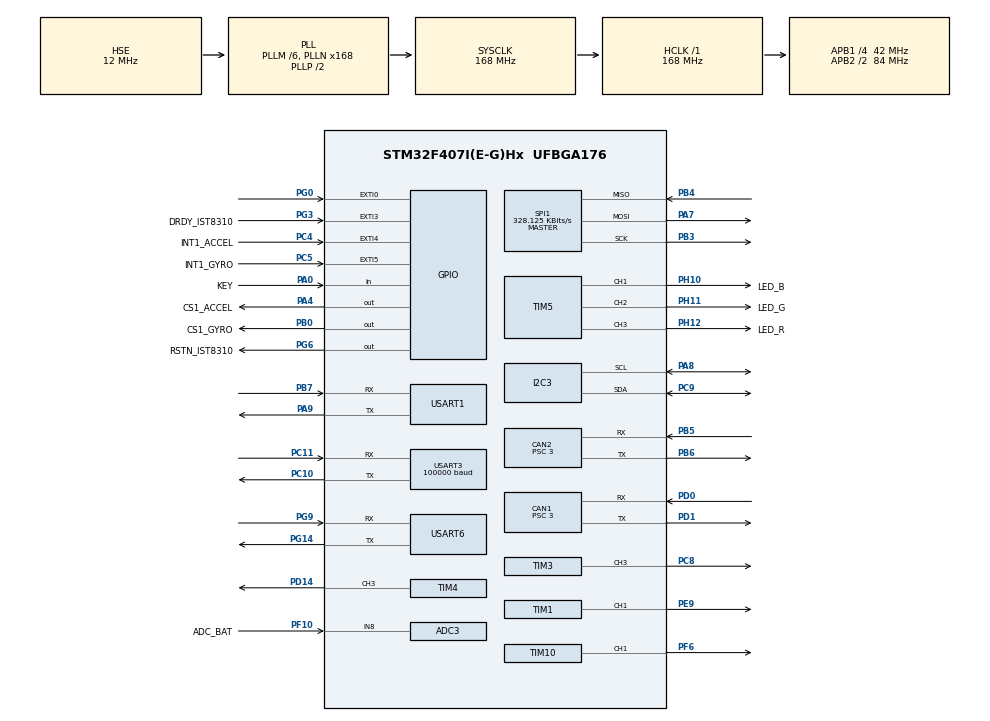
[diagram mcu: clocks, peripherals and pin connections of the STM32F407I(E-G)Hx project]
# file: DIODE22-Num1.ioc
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ADC1.Channel-0\#ChannelRegularConversion=ADC_CHANNEL_TEMPSENSOR
ADC1.ClockPrescaler=ADC_CLOCK_SYNC_PCLK_DIV6
ADC1.NbrOfConversionFlag=1
ADC1.Rank-0\#ChannelRegularConversion=1
ADC1.SamplingTime-0\#ChannelRegularConversion=ADC_SAMPLETIME_3CYCLES
ADC1.master=1
ADC3.Channel-0\#ChannelRegularConversion=ADC_CHANNEL_8
ADC3.ClockPrescaler=ADC_CLOCK_SYNC_PCLK_DIV6
ADC3.NbrOfConversionFlag=1
ADC3.Rank-0\#ChannelRegularConversion=1
ADC3.SamplingTime-0\#ChannelRegularConversion=ADC_SAMPLETIME_3CYCLES
CAN1.ABOM=ENABLE
CAN1.BS1=CAN_BS1_10TQ
CAN1.BS2=CAN_BS2_3TQ
CAN1.CalculateBaudRate=1000000
CAN1.CalculateTimeBit=999.99
CAN1.CalculateTimeQuantum=71.42857142857143
CAN1.Prescaler=3
CAN2.BS1=CAN_BS1_10TQ
CAN2.BS2=CAN_BS2_3TQ
CAN2.CalculateBaudRate=1000000
CAN2.CalculateTimeBit=999.99
CAN2.CalculateTimeQuantum=71.42857142857143
CAN2.Prescaler=3
Dma.Request0=SPI1_RX
Dma.Request1=SPI1_TX
Dma.Request2=USART1_RX
Dma.Request3=USART1_TX
Dma.Request4=USART6_RX
Dma.Request5=USART6_TX
Dma.Request6=USART3_RX
Dma.SPI1_RX.0.Direction=DMA_PERIPH_TO_MEMORY
Dma.SPI1_RX.0.FIFOMode=DMA_FIFOMODE_DISABLE
Dma.SPI1_RX.0.Instance=DMA2_Stream2
Dma.SPI1_RX.0.MemDataAlignment=DMA_MDATAALIGN_BYTE
Dma.SPI1_RX.0.MemInc=DMA_MINC_ENABLE
Dma.SPI1_RX.0.Mode=DMA_NORMAL
Dma.SPI1_RX.0.PeriphDataAlignment=DMA_PDATAALIGN_BYTE
Dma.SPI1_RX.0.PeriphInc=DMA_PINC_DISABLE
Dma.SPI1_RX.0.Priority=DMA_PRIORITY_VERY_HIGH
Dma.SPI1_TX.1.Direction=DMA_MEMORY_TO_PERIPH
Dma.SPI1_TX.1.FIFOMode=DMA_FIFOMODE_DISABLE
Dma.SPI1_TX.1.Instance=DMA2_Stream3
Dma.SPI1_TX.1.MemDataAlignment=DMA_MDATAALIGN_BYTE
Dma.SPI1_TX.1.MemInc=DMA_MINC_ENABLE
Dma.SPI1_TX.1.Mode=DMA_NORMAL
Dma.SPI1_TX.1.PeriphDataAlignment=DMA_PDATAALIGN_BYTE
Dma.SPI1_TX.1.PeriphInc=DMA_PINC_DISABLE
Dma.SPI1_TX.1.Priority=DMA_PRIORITY_HIGH
Dma.USART1_RX.2.Direction=DMA_PERIPH_TO_MEMORY
Dma.USART1_RX.2.FIFOMode=DMA_FIFOMODE_DISABLE
Dma.USART1_RX.2.Instance=DMA2_Stream5
Dma.USART1_RX.2.MemDataAlignment=DMA_MDATAALIGN_BYTE
Dma.USART1_RX.2.MemInc=DMA_MINC_ENABLE
Dma.USART1_RX.2.Mode=DMA_NORMAL
Dma.USART1_RX.2.PeriphDataAlignment=DMA_PDATAALIGN_BYTE
Dma.USART1_RX.2.PeriphInc=DMA_PINC_DISABLE
Dma.USART1_RX.2.Priority=DMA_PRIORITY_HIGH
Dma.USART1_TX.3.Direction=DMA_MEMORY_TO_PERIPH
Dma.USART1_TX.3.FIFOMode=DMA_FIFOMODE_DISABLE
Dma.USART1_TX.3.Instance=DMA2_Stream7
Dma.USART1_TX.3.MemDataAlignment=DMA_MDATAALIGN_BYTE
Dma.USART1_TX.3.MemInc=DMA_MINC_ENABLE
Dma.USART1_TX.3.Mode=DMA_NORMAL
Dma.USART1_TX.3.PeriphDataAlignment=DMA_PDATAALIGN_BYTE
Dma.USART1_TX.3.PeriphInc=DMA_PINC_DISABLE
Dma.USART1_TX.3.Priority=DMA_PRIORITY_HIGH
Dma.USART3_RX.6.Direction=DMA_PERIPH_TO_MEMORY
Dma.USART3_RX.6.FIFOMode=DMA_FIFOMODE_DISABLE
Dma.USART3_RX.6.Instance=DMA1_Stream1
Dma.USART3_RX.6.MemDataAlignment=DMA_MDATAALIGN_BYTE
Dma.USART3_RX.6.MemInc=DMA_MINC_ENABLE
Dma.USART3_RX.6.Mode=DMA_CIRCULAR
Dma.USART3_RX.6.PeriphDataAlignment=DMA_PDATAALIGN_BYTE
Dma.USART3_RX.6.PeriphInc=DMA_PINC_DISABLE
Dma.USART3_RX.6.Priority=DMA_PRIORITY_LOW
Dma.USART6_RX.4.Direction=DMA_PERIPH_TO_MEMORY
Dma.USART6_RX.4.FIFOMode=DMA_FIFOMODE_DISABLE
Dma.USART6_RX.4.Instance=DMA2_Stream1
Dma.USART6_RX.4.MemDataAlignment=DMA_MDATAALIGN_BYTE
Dma.USART6_RX.4.MemInc=DMA_MINC_ENABLE
Dma.USART6_RX.4.Mode=DMA_CIRCULAR
Dma.USART6_RX.4.PeriphDataAlignment=DMA_PDATAALIGN_BYTE
Dma.USART6_RX.4.PeriphInc=DMA_PINC_DISABLE
Dma.USART6_RX.4.Priority=DMA_PRIORITY_HIGH
Dma.USART6_TX.5.Direction=DMA_MEMORY_TO_PERIPH
Dma.USART6_TX.5.FIFOMode=DMA_FIFOMODE_DISABLE
Dma.USART6_TX.5.Instance=DMA2_Stream6
Dma.USART6_TX.5.MemDataAlignment=DMA_MDATAALIGN_BYTE
Dma.USART6_TX.5.MemInc=DMA_MINC_ENABLE
Dma.USART6_TX.5.Mode=DMA_NORMAL
Dma.USART6_TX.5.PeriphDataAlignment=DMA_PDATAALIGN_BYTE
Dma.USART6_TX.5.PeriphInc=DMA_PINC_DISABLE
Dma.USART6_TX.5.Priority=DMA_PRIORITY_MEDIUM
FREERTOS.INCLUDE_eTaskGetState=1
FREERTOS.INCLUDE_pcTaskGetTaskName=1
FREERTOS.INCLUDE_uxTaskGetStackHighWaterMark=1
FREERTOS.INCLUDE_vTaskCleanUpResources=1
FREERTOS.INCLUDE_vTaskDelayUntil=1
FREERTOS.INCLUDE_xEventGroupSetBitFromISR=1
FREERTOS.INCLUDE_xQueueGetMutexHolder=1
FREERTOS.INCLUDE_xSemaphoreGetMutexHolder=1
FREERTOS.INCLUDE_xTaskAbortDelay=1
FREERTOS.INCLUDE_xTaskGetCurrentTaskHandle=1
FREERTOS.INCLUDE_xTaskGetHandle=1
FREERTOS.INCLUDE_xTimerPendFunctionCall=1
FREERTOS.Tasks01=defaultTask,0,128,StartDefaultTask,Default,NULL,Dynamic,NULL,NULL
FREERTOS.configMAX_PRIORITIES=15
FREERTOS.configTOTAL_HEAP_SIZE=24576
FREERTOS.configUSE_TIMERS=1
I2C3.I2C_Mode=I2C_Fast
Mcu.Family=STM32F4
Mcu.Name=STM32F407I(E-G)Hx
Mcu.Package=UFBGA176
NVIC.CAN1_RX0_IRQn=true\:5\:0\:false\:false\:true\:true\:true\:true
NVIC.CAN1_TX_IRQn=true\:5\:0\:false\:false\:true\:true\:true\:true
NVIC.CAN2_RX0_IRQn=true\:5\:0\:false\:false\:true\:true\:true\:true
NVIC.DMA1_Stream1_IRQn=true\:5\:0\:false\:false\:true\:true\:false\:true
NVIC.DMA2_Stream1_IRQn=true\:5\:0\:false\:false\:true\:true\:false\:true
NVIC.DMA2_Stream2_IRQn=true\:5\:0\:false\:false\:false\:true\:false\:true
NVIC.DMA2_Stream3_IRQn=true\:5\:0\:false\:false\:false\:true\:false\:true
NVIC.DMA2_Stream5_IRQn=true\:5\:0\:false\:false\:true\:true\:false\:true
NVIC.DMA2_Stream6_IRQn=true\:5\:0\:false\:false\:true\:true\:false\:true
NVIC.DMA2_Stream7_IRQn=true\:5\:0\:false\:false\:true\:true\:false\:true
NVIC.EXTI0_IRQn=true\:5\:0\:false\:false\:true\:true\:true\:true
NVIC.EXTI3_IRQn=true\:5\:0\:false\:false\:true\:true\:true\:true
NVIC.EXTI4_IRQn=true\:5\:0\:false\:false\:true\:true\:true\:true
NVIC.EXTI9_5_IRQn=true\:5\:0\:false\:false\:true\:true\:true\:true
NVIC.PriorityGroup=NVIC_PRIORITYGROUP_4
NVIC.USART1_IRQn=true\:5\:0\:false\:false\:true\:true\:true\:true
NVIC.USART3_IRQn=true\:5\:0\:false\:false\:true\:true\:true\:true
NVIC.USART6_IRQn=true\:5\:0\:false\:false\:true\:true\:true\:true
PA0-WKUP.GPIO_Label=KEY
PA0-WKUP.GPIO_PuPd=GPIO_PULLUP
PA0-WKUP.Signal=GPIO_Input
PA13.Mode=Serial_Wire
PA13.Signal=SYS_JTMS-SWDIO
PA14.Mode=Serial_Wire
PA14.Signal=SYS_JTCK-SWCLK
PA4.GPIO_Label=CS1_ACCEL
PA4.GPIO_ModeDefaultOutputPP=GPIO_MODE_OUTPUT_PP
PA4.GPIO_PuPd=GPIO_PULLUP
PA4.GPIO_Speed=GPIO_SPEED_FREQ_HIGH
PA4.PinState=GPIO_PIN_SET
PA4.Signal=GPIO_Output
PA7.GPIO_PuPd=GPIO_PULLUP
PA7.Mode=Full_Duplex_Master
PA7.Signal=SPI1_MOSI
PA8.GPIO_Pu=GPIO_PULLUP
PA8.Mode=I2C
PA8.Signal=I2C3_SCL
PA9.Mode=Asynchronous
PA9.Signal=USART1_TX
PB0.GPIO_Label=CS1_GYRO
PB0.GPIO_PuPd=GPIO_PULLUP
PB0.GPIO_Speed=GPIO_SPEED_FREQ_HIGH
PB0.PinState=GPIO_PIN_SET
PB0.Signal=GPIO_Output
PB3.GPIO_PuPd=GPIO_PULLUP
PB3.Mode=Full_Duplex_Master
PB3.Signal=SPI1_SCK
PB4.GPIO_PuPd=GPIO_PULLUP
PB4.Mode=Full_Duplex_Master
PB4.Signal=SPI1_MISO
PB5.Mode=CAN_Activate
PB5.Signal=CAN2_RX
PB6.Mode=CAN_Activate
PB6.Signal=CAN2_TX
PB7.Mode=Asynchronous
PB7.Signal=USART1_RX
PC10.Mode=Asynchronous
PC10.Signal=USART3_TX
PC11.Mode=Asynchronous
PC11.Signal=USART3_RX
PC4.GPIO_Label=INT1_ACCEL
PC4.GPIO_PuPd=GPIO_PULLUP
PC4.Signal=GPXTI4
PC5.GPIO_Label=INT1_GYRO
PC5.Signal=GPXTI5
PC8.Signal=S_TIM3_CH3
PC9.GPIO_Pu=GPIO_PULLUP
PC9.Mode=I2C
PC9.Signal=I2C3_SDA
PD0.Mode=CAN_Activate
PD0.Signal=CAN1_RX
PD1.Mode=CAN_Activate
PD1.Signal=CAN1_TX
PD14.GPIO_Speed=GPIO_SPEED_FREQ_VERY_HIGH
PD14.Signal=S_TIM4_CH3
PE9.Signal=S_TIM1_CH1
PF10.GPIO_Label=ADC_BAT
PF10.Mode=IN8
PF10.Signal=ADC3_IN8
PF6.GPIO_PuPd=GPIO_PULLUP
PF6.GPIO_Speed=GPIO_SPEED_FREQ_HIGH
PF6.Signal=S_TIM10_CH1
PG0.GPIO_PuPd=GPIO_PULLUP
PG0.Signal=GPXTI0
PG14.Mode=Asynchronous
PG14.Signal=USART6_TX
PG3.GPIO_Label=DRDY_IST8310
PG3.GPIO_PuPd=GPIO_PULLUP
PG3.Signal=GPXTI3
PG6.GPIO_Label=RSTN_IST8310
PG6.GPIO_PuPd=GPIO_PULLUP
PG6.GPIO_Speed=GPIO_SPEED_FREQ_HIGH
PG6.PinState=GPIO_PIN_SET
PG6.Signal=GPIO_Output
PG9.Mode=Asynchronous
PG9.Signal=USART6_RX
PH0-OSC_IN.Mode=HSE-External-Oscillator
PH0-OSC_IN.Signal=RCC_OSC_IN
PH1-OSC_OUT.Mode=HSE-External-Oscillator
PH1-OSC_OUT.Signal=RCC_OSC_OUT
PH10.GPIO_Label=LED_B
PH10.GPIO_PuPd=GPIO_PULLUP
PH10.GPIO_Speed=GPIO_SPEED_FREQ_VERY_HIGH
PH10.Signal=S_TIM5_CH1
PH11.GPIO_Label=LED_G
PH11.GPIO_PuPd=GPIO_PULLUP
PH11.GPIO_Speed=GPIO_SPEED_FREQ_VERY_HIGH
PH11.Signal=S_TIM5_CH2
PH12.GPIO_Label=LED_R
PH12.GPIO_PuPd=GPIO_PULLUP
PH12.GPIO_Speed=GPIO_SPEED_FREQ_VERY_HIGH
PH12.Signal=S_TIM5_CH3
ProjectManager.HeapSize=0x200
ProjectManager.StackSize=0x400
ProjectManager.TargetToolchain=MDK-ARM V5
RCC.48MHZClocksFreq_Value=84000000
RCC.AHBFreq_Value=168000000
RCC.APB1CLKDivider=RCC_HCLK_DIV4
RCC.APB1Freq_Value=42000000
RCC.APB1TimFreq_Value=84000000
RCC.APB2CLKDivider=RCC_HCLK_DIV2
RCC.APB2Freq_Value=84000000
RCC.APB2TimFreq_Value=168000000
RCC.CortexFreq_Value=168000000
RCC.HCLKFreq_Value=168000000
RCC.HSE_VALUE=12000000
RCC.HSI_VALUE=16000000
RCC.LSE_VALUE=32768
RCC.PLLM=6
RCC.PLLN=168
RCC.PLLSourceVirtual=RCC_PLLSOURCE_HSE
RCC.SYSCLKFreq_VALUE=168000000
RCC.SYSCLKSource=RCC_SYSCLKSOURCE_PLLCLK
RCC.VCOOutputFreq_Value=336000000
SH.S_TIM10_CH1.0=TIM10_CH1,PWM Generation1 CH1
SH.S_TIM1_CH1.0=TIM1_CH1,PWM Generation1 CH1
SH.S_TIM3_CH3.0=TIM3_CH3,PWM Generation3 CH3
SH.S_TIM4_CH3.0=TIM4_CH3,PWM Generation3 CH3
SH.S_TIM5_CH1.0=TIM5_CH1,PWM Generation1 CH1
SH.S_TIM5_CH2.0=TIM5_CH2,PWM Generation2 CH2
SH.S_TIM5_CH3.0=TIM5_CH3,PWM Generation3 CH3
SPI1.BaudRatePrescaler=SPI_BAUDRATEPRESCALER_256
SPI1.CLKPhase=SPI_PHASE_2EDGE
SPI1.CLKPolarity=SPI_POLARITY_HIGH
SPI1.CalculateBaudRate=328.125 KBits/s
SPI1.Direction=SPI_DIRECTION_2LINES
SPI1.Mode=SPI_MODE_MASTER
SPI1.VirtualType=VM_MASTER
TIM1.Channel-PWM\ Generation1\ CH1=TIM_CHANNEL_1
TIM1.Period=20000-1
TIM1.Prescaler=168-1
TIM10.Channel=TIM_CHANNEL_1
TIM3.Channel-PWM\ Generation3\ CH3=TIM_CHANNEL_3
TIM3.Period=8400-1
TIM3.Prescaler=0
TIM4.Channel-PWM\ Generation3\ CH3=TIM_CHANNEL_3
TIM5.Channel-PWM\ Generation1\ CH1=TIM_CHANNEL_1
TIM5.Channel-PWM\ Generation2\ CH2=TIM_CHANNEL_2
TIM5.Channel-PWM\ Generation3\ CH3=TIM_CHANNEL_3
USART1.VirtualMode=VM_ASYNC
USART3.BaudRate=100000
USART3.Parity=PARITY_EVEN
USART3.VirtualMode=VM_ASYNC
USART6.VirtualMode=VM_ASYNC
VP_ADC1_TempSens_Input.Mode=IN-TempSens
VP_ADC1_Vref_Input.Mode=IN-Vrefint
VP_CRC_VS_CRC.Mode=CRC_Activate
VP_FREERTOS_VS_CMSIS_V1.Mode=CMSIS_V1
VP_TIM10_VS_ClockSourceINT.Mode=Enable_Timer
VP_TIM4_VS_ClockSourceINT.Mode=Internal
board=custom

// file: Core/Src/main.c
/* USER CODE BEGIN Header */
/**
  ******************************************************************************
  * @file           : main.c
  * @brief          : Main program body
  ******************************************************************************
  * @attention
  *
  * <h2><center>&copy; Copyright (c) 2022 STMicroelectronics.
  * All rights reserved.</center></h2>
  *
  * This software component is licensed by ST under Ultimate Liberty license
  * SLA0044, the "License"; You may not use this file except in compliance with
  * the License. You may obtain a copy of the License at:
  *                             www.st.com/SLA0044
  *
  ******************************************************************************
  */
/* USER CODE END Header */
#include "main.h"
#include "cmsis_os.h"
#include "adc.h"
#include "can.h"
#include "crc.h"
#include "dma.h"
#include "i2c.h"
#include "spi.h"
#include "tim.h"
#include "usart.h"
#include "gpio.h"

/* USER CODE BEGIN Includes */
#include "bsp_delay.h"
/* USER CODE END Includes */

/* USER CODE BEGIN PTD */
extern uint8_t tmp_vision;
/* USER CODE END PTD */

void SystemClock_Config(void);
void MX_FREERTOS_Init(void);
/* USER CODE BEGIN PFP */
void BSP_All_Init(void);		// 所有设备初始化
/* USER CODE END PFP */

int main(void)
{

  /* MCU Configuration--------------------------------------------------------*/

  /* Reset of all peripherals, Initializes the Flash interface and the Systick. */
  HAL_Init();

  /* Configure the system clock */
  SystemClock_Config();

  /* Initialize all configured peripherals */
  MX_GPIO_Init();
  MX_DMA_Init();
  MX_ADC1_Init();
  MX_ADC3_Init();
  MX_CAN1_Init();
  MX_CAN2_Init();
  MX_SPI1_Init();
  MX_TIM4_Init();
  MX_TIM5_Init();
  MX_TIM10_Init();
  MX_USART1_UART_Init();
  MX_USART6_UART_Init();
  MX_USART3_UART_Init();
  MX_CRC_Init();
  MX_I2C3_Init();
  MX_TIM1_Init();
  MX_TIM3_Init();
  /* USER CODE BEGIN 2 */
  BSP_All_Init();
  /* USER CODE END 2 */

  /* Call init function for freertos objects (in freertos.c) */
  MX_FREERTOS_Init();
  /* Start scheduler */
  osKernelStart();

  /* We should never get here as control is now taken by the scheduler */
  /* Infinite loop */
  while (1)
  {

  }
}

void SystemClock_Config(void)
{
  RCC_OscInitTypeDef RCC_OscInitStruct = {0};
  RCC_ClkInitTypeDef RCC_ClkInitStruct = {0};

  /** Configure the main internal regulator output voltage
  */
  __HAL_RCC_PWR_CLK_ENABLE();
  __HAL_PWR_VOLTAGESCALING_CONFIG(PWR_REGULATOR_VOLTAGE_SCALE1);
  /** Initializes the RCC Oscillators according to the specified parameters
  * in the RCC_OscInitTypeDef structure.
  */
  RCC_OscInitStruct.OscillatorType = RCC_OSCILLATORTYPE_HSE;
  RCC_OscInitStruct.HSEState = RCC_HSE_ON;
  RCC_OscInitStruct.PLL.PLLState = RCC_PLL_ON;
  RCC_OscInitStruct.PLL.PLLSource = RCC_PLLSOURCE_HSE;
  RCC_OscInitStruct.PLL.PLLM = 6;
  RCC_OscInitStruct.PLL.PLLN = 168;
  RCC_OscInitStruct.PLL.PLLP = RCC_PLLP_DIV2;
  RCC_OscInitStruct.PLL.PLLQ = 4;
  if (HAL_RCC_OscConfig(&RCC_OscInitStruct) != HAL_OK)
  {
    Error_Handler();
  }
  /** Initializes the CPU, AHB and APB buses clocks
  */
  RCC_ClkInitStruct.ClockType = RCC_CLOCKTYPE_HCLK|RCC_CLOCKTYPE_SYSCLK
                              |RCC_CLOCKTYPE_PCLK1|RCC_CLOCKTYPE_PCLK2;
  RCC_ClkInitStruct.SYSCLKSource = RCC_SYSCLKSOURCE_PLLCLK;
  RCC_ClkInitStruct.AHBCLKDivider = RCC_SYSCLK_DIV1;
  RCC_ClkInitStruct.APB1CLKDivider = RCC_HCLK_DIV4;
  RCC_ClkInitStruct.APB2CLKDivider = RCC_HCLK_DIV2;

  if (HAL_RCC_ClockConfig(&RCC_ClkInitStruct, FLASH_LATENCY_5) != HAL_OK)
  {
    Error_Handler();
  }
}

/* USER CODE BEGIN 4 */
void BSP_All_Init(void)	// 初始化所有硬件层
{
    uint8_t i=0;	// 计数
    extern uint8_t aTxVisionMessages[22];
    delay_init();

    CAN_FilterInit(&hcan1);	// 初始化CAN1的筛选器
    CAN_FilterInit(&hcan2);	// 初始化CAN2的筛选器

HAL_TIM_PWM_Start(&htim1,TIM_CHANNEL_1);
HAL_TIM_PWM_Start(&htim3, TIM_CHANNEL_3);

    for(i=4; i<6; i++)	// 两个摩擦轮电机
    {
        PID_Init(&PID_M3508[i],DELTA_PID,16000,16000,3.5,0.1,0.1);// 0.01//5 0.1 0.1
    }

    PID_Init(&PID_HEAT_PWM,POSITION_PID,1000,1000,1600,0.2,0);
    client_state_now.motion=1;

    extern uint8_t tmp_vision;

//    HAL_UART_Receive_IT(&JUDGE_UART, (uint8_t *)aRxBuffer, 1);  //串口6裁判系统  串口1视觉
//    HAL_UART_Receive_DMA(&VISION_UART, &tmp_vision, 1);
//    HAL_UART_Transmit_DMA(&VISION_UART,(uint8_t*)aTxVisionMessages,sizeof(aTxVisionMessages));
	  HAL_TIM_PWM_Start(&htim10, TIM_CHANNEL_1);
//  InitJudgeUart();
    dbus_uart_init();		// 初始化遥控器
//	LASER_On();		// 开启激光
    LASER_Off();	// 关闭激光
    Beep(200);
}
/* USER CODE END 4 */

void Error_Handler(void)
{
}

/************************ (C) COPYRIGHT STMicroelectronics *****END OF FILE****/

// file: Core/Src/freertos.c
/* USER CODE BEGIN Header */
/**
  ******************************************************************************
  * File Name          : freertos.c
  * Description        : Code for freertos applications
  ******************************************************************************
  * @attention
  *
  * <h2><center>&copy; Copyright (c) 2022 STMicroelectronics.
  * All rights reserved.</center></h2>
  *
  * This software component is licensed by ST under Ultimate Liberty license
  * SLA0044, the "License"; You may not use this file except in compliance with
  * the License. You may obtain a copy of the License at:
  *                             www.st.com/SLA0044
  *
  ******************************************************************************
  */
/* USER CODE END Header */

#include "FreeRTOS.h"
#include "task.h"
#include "main.h"
#include "cmsis_os.h"

/* USER CODE BEGIN Includes */
#include "bsp_can.h"
#include "pid.h"
#include "gimbal.h"
#include "bsp_can.h"
#include "JudgeTask.h"
#include "kalman.h"
#include "chassis_task.h"
#include "gimbal_task.h"
#include "infoupdate_task.h"
#include "led_task.h"
#include "outctl_task.h"
#include "task_10hz_task.h"
#include "shoot_task.h"
#include "INS_task.h"
#include "calibrate_task.h"
/* USER CODE END Includes */

osThreadId defaultTaskHandle;

/* USER CODE BEGIN FunctionPrototypes */
osThreadId chassisTaskHandle;
osThreadId gimbalTaskHandle;
//osThreadId ledTaskHandle;
osThreadId shootTaskHandle;
osThreadId info_updateTaskHandle;
osThreadId task_10hzTaskHandle;
osThreadId outctlTaskHandle;
osThreadId imuTaskHandle;
osThreadId calibrate_tast_handle;
/* USER CODE END FunctionPrototypes */

void StartDefaultTask(void const * argument);

void MX_FREERTOS_Init(void); /* (MISRA C 2004 rule 8.1) */

/* GetIdleTaskMemory prototype (linked to static allocation support) */
void vApplicationGetIdleTaskMemory( StaticTask_t **ppxIdleTaskTCBBuffer, StackType_t **ppxIdleTaskStackBuffer, uint32_t *pulIdleTaskStackSize );

/* GetTimerTaskMemory prototype (linked to static allocation support) */
void vApplicationGetTimerTaskMemory( StaticTask_t **ppxTimerTaskTCBBuffer, StackType_t **ppxTimerTaskStackBuffer, uint32_t *pulTimerTaskStackSize );

/* USER CODE BEGIN GET_IDLE_TASK_MEMORY */
static StaticTask_t xIdleTaskTCBBuffer;
static StackType_t xIdleStack[configMINIMAL_STACK_SIZE];

void vApplicationGetIdleTaskMemory( StaticTask_t **ppxIdleTaskTCBBuffer, StackType_t **ppxIdleTaskStackBuffer, uint32_t *pulIdleTaskStackSize )
{
  *ppxIdleTaskTCBBuffer = &xIdleTaskTCBBuffer;
  *ppxIdleTaskStackBuffer = &xIdleStack[0];
  *pulIdleTaskStackSize = configMINIMAL_STACK_SIZE;
  /* place for user code */
}
/* USER CODE END GET_IDLE_TASK_MEMORY */

/* USER CODE BEGIN GET_TIMER_TASK_MEMORY */
static StaticTask_t xTimerTaskTCBBuffer;
static StackType_t xTimerStack[configTIMER_TASK_STACK_DEPTH];

void vApplicationGetTimerTaskMemory( StaticTask_t **ppxTimerTaskTCBBuffer, StackType_t **ppxTimerTaskStackBuffer, uint32_t *pulTimerTaskStackSize )
{
  *ppxTimerTaskTCBBuffer = &xTimerTaskTCBBuffer;
  *ppxTimerTaskStackBuffer = &xTimerStack[0];
  *pulTimerTaskStackSize = configTIMER_TASK_STACK_DEPTH;
  /* place for user code */
}
/* USER CODE END GET_TIMER_TASK_MEMORY */

void MX_FREERTOS_Init(void) {

  /* Create the thread(s) */
  /* definition and creation of defaultTask */
  osThreadDef(defaultTask, StartDefaultTask, osPriorityNormal, 0, 128);
  defaultTaskHandle = osThreadCreate(osThread(defaultTask), NULL);

  /* USER CODE BEGIN RTOS_THREADS */
  /* add threads, ... */
  osThreadDef(chassisTask, chassis_task, osPriorityAboveNormal, 0, 512);
  chassisTaskHandle = osThreadCreate(osThread(chassisTask), NULL);

  osThreadDef(gimbalTask, gimbal_task, osPriorityHigh, 0, 1024);
  gimbalTaskHandle = osThreadCreate(osThread(gimbalTask), NULL);

  osThreadDef(shootTask, shoot_task, osPriorityAboveNormal, 0, 128);
  shootTaskHandle = osThreadCreate(osThread(shootTask), NULL);

  osThreadDef(info_update, info_update_task, osPriorityNormal, 0, 256);
  info_updateTaskHandle = osThreadCreate(osThread(info_update), NULL);

  osThreadDef(task_10hz, task_10hz_task, osPriorityBelowNormal, 0, 256);
  task_10hzTaskHandle = osThreadCreate(osThread(task_10hz), NULL);

//  osThreadDef(ledTask, led_task, osPriorityNormal, 0, 128);
//  ledTaskHandle = osThreadCreate(osThread(ledTask), NULL);

  osThreadDef(outctl, outctl_task, osPriorityAboveNormal, 0, 128);
  outctlTaskHandle = osThreadCreate(osThread(outctl), NULL);

  osThreadDef(imuTask, INS_task, osPriorityRealtime, 0, 1024);
  imuTaskHandle = osThreadCreate(osThread(imuTask), NULL);

  osThreadDef(cali, calibrate_task, osPriorityAboveNormal, 0, 256);
  calibrate_tast_handle = osThreadCreate(osThread(cali), NULL);

  /* USER CODE END RTOS_THREADS */

}

void StartDefaultTask(void const * argument)
{
  for(;;)
  {
    osDelay(1);
  }
}

/************************ (C) COPYRIGHT STMicroelectronics *****END OF FILE****/
